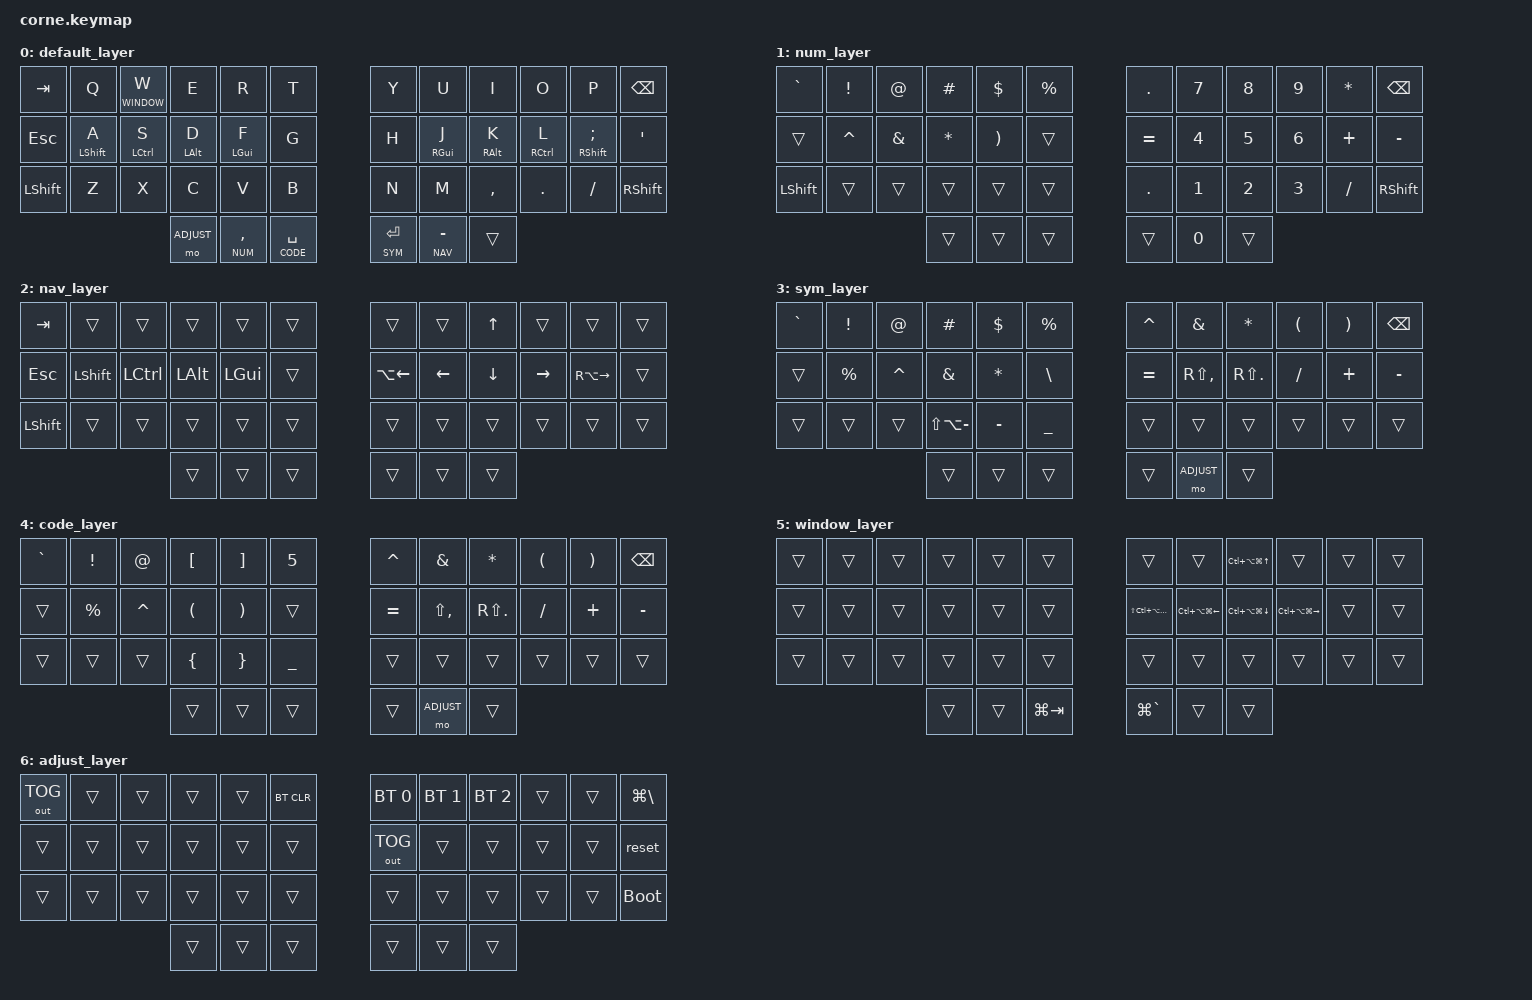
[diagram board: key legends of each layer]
/*
 * Copyright (c) 2020 The ZMK Contributors
 *
 * SPDX-License-Identifier: MIT
 */

#include <behaviors.dtsi>
#include <dt-bindings/zmk/keys.h>
#include <dt-bindings/zmk/bt.h>
#include <dt-bindings/zmk/outputs.h>

#define DEFAULT 0
#define NUM 1
#define NAV 2
#define SYM 3
#define CODE 4
#define WINDOW 5
#define ADJUST 6


/ {
        // homerow mod behavior
        behaviors {
                hm: homerow_mods {
                 compatible = "zmk,behavior-hold-tap";
                 label = "HOMEROW_MODS";
                  #binding-cells = <2>;
                  tapping-term-ms = <200>;
                 quick_tap_ms = <0>;
                  flavor = "tap-preferred";
                  bindings = <&kp>, <&kp>;
                 };
        };

        keymap {
                compatible = "zmk,keymap";

                default_layer {
                        bindings = <
        &kp TAB   &kp Q        &lt WINDOW W &kp E      &kp R      &kp T    &kp Y &kp U      &kp I      &kp O       &kp P           &kp BSPC
        &kp ESC   &hm LSHIFT A &hm LCTRL S  &hm LALT D &hm LGUI F &kp G    &kp H &hm RGUI J &hm RALT K &hm RCTRL L &hm RSHIFT SEMI &kp SQT
        &kp LSHFT &kp Z        &kp X        &kp C      &kp V      &kp B    &kp N &kp M      &kp COMMA  &kp DOT     &kp FSLH        &kp RSHFT
                           &mo ADJUST &lt NUM COMMA &lt CODE SPACE    &lt SYM RET &lt NAV MINUS &trans
                        >;
                };
                num_layer {
                        bindings = <
        &kp GRAVE &kp EXCL &kp AT &kp HASH  &kp DOLLAR  &kp PERCENT      &kp DOT   &kp N7   &kp N8 &kp N9    &kp ASTRK &kp BSPC
        &trans &kp CARET &kp AMPS &kp ASTRK &kp RPAR &trans              &kp EQUAL &kp N4 &kp N5 &kp N6 &kp PLUS &kp MINUS
        &kp LSHFT  &trans   &trans &trans  &trans &trans                 &kp DOT   &kp N1  &kp N2 &kp N3  &kp FSLH  &kp RSHFT 
                                &trans     &trans    &trans         &trans &kp N0 &trans
                        >;
                };

                nav_layer {
                        bindings = <
        &kp TAB  &trans  &trans  &trans  &trans  &trans            &trans &trans  &kp UP &trans &trans &trans
        &kp ESC &kp LSHFT  &kp LCTRL  &kp LALT &kp LGUI  &trans     &kp LA(LEFT) &kp LEFT &kp DOWN  &kp RIGHT &kp RA(RIGHT) &trans
        &kp LSHFT &trans &trans  &trans    &trans    &trans         &trans    &trans    &trans   &trans   &trans &trans
                                   &trans &trans &trans        &trans &trans &trans
                        >;
                };

                sym_layer {
                        bindings = <
        &kp GRAVE  &kp EXCL  &kp AT  &kp HASH  &kp DOLLAR  &kp PERCENT        &kp CARET  &kp AMPS &kp ASTRK &kp LPAR &kp RPAR &kp BSPC
        &trans &kp PERCENT  &kp CARET  &kp AMPS &kp ASTRK  &kp BSLH             &kp EQUAL &kp RS(COMMA)  &kp RS(DOT)  &kp FSLH &kp PLUS &kp MINUS
        &trans &trans &trans  &kp LS(LA(MINUS))  &kp MINUS  &kp UNDER          &trans    &trans    &trans   &trans   &trans &trans
                                   &trans &trans &trans        &trans &mo ADJUST &trans
                        >;
                };

                code_layer {
                        bindings = <
        &kp GRAVE  &kp EXCL  &kp AT  &kp LEFT_BRACKET  &kp RIGHT_BRACKET  &kp N5    &kp CARET  &kp AMPS &kp ASTRK &kp LPAR &kp RPAR &kp BSPC
        &trans &kp PERCENT  &kp CARET  &kp LPAR &kp RPAR  &trans                     &kp EQUAL &kp LS(COMMA)  &kp RS(DOT)  &kp FSLH &kp PLUS &kp MINUS
        &trans &trans &trans  &kp LEFT_BRACE  &kp RIGHT_BRACE  &kp UNDER             &trans    &trans    &trans   &trans   &trans &trans
                                   &trans &trans &trans        &trans &mo ADJUST &trans
                        >;
                };

                window_layer {
                        bindings = <
        &trans &trans &trans  &trans  &trans  &trans        &trans  &trans &kp LC(LA(LG(UP))) &trans &trans &trans
        &trans &trans &trans  &trans  &trans  &trans        &kp LS(LC(LA(LG(LEFT)))) &kp LC(LA(LG(LEFT)))  &kp LC(LA(LG(DOWN)))  &kp LC(LA(LG(RIGHT))) &trans &trans
        &trans &trans &trans  &trans  &trans  &trans        &trans    &trans    &trans   &trans   &trans &trans
                       &trans &trans &kp LG(TAB)       &kp LG(GRAVE) &trans &trans
                        >;
                };

                adjust_layer {
                        bindings = <
        &out OUT_TOG &trans &trans  &trans  &trans  &bt BT_CLR        &bt BT_SEL 0  &bt BT_SEL 1 &bt BT_SEL 2 &trans &trans &kp LG(BSLH)
        &trans &trans &trans  &trans  &trans  &trans                  &out OUT_TOG &trans  &trans  &trans &trans &reset
        &trans &trans &trans  &trans  &trans  &trans                  &trans    &trans    &trans   &trans   &trans &bootloader
                       &trans &trans &trans                           &trans &trans &trans
                        >;
                };
        };
};
